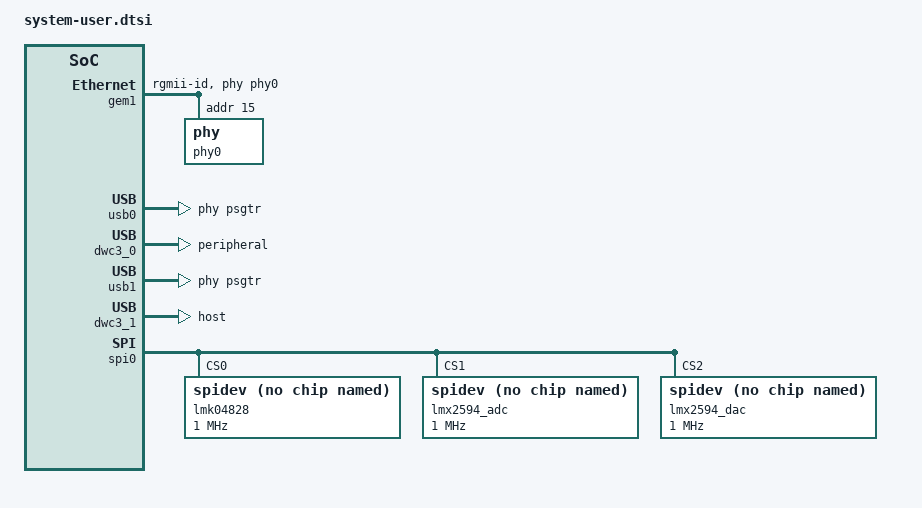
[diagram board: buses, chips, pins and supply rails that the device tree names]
/include/ "system-conf.dtsi"
#include <dt-bindings/phy/phy.h>

/*
 * RFSoC 4x2 board device tree for the UHD (MPM) image. Board facts from the
 * RFSoC 4x2 reference manual and RealDigital's RFSoC4x2-BSP: GEM1 with a TI
 * DP83867 PHY at address 15, SD0 without 1.8 V signalling, PS-GTR reference
 * clocks, LMK04828 / LMX2594 on PS SPI0 (SS0 / SS1 / SS2).
 * The PL nodes are not in the base tree: MPM applies the FPGA image and its
 * overlay (fpga/dts) at runtime.
 */

/ {
	chosen {
		stdout-path = "serial0:115200n8";
	};

	dp_clk: psgtr_dp_clock {
		compatible = "fixed-clock";
		#clock-cells = <0x00>;
		clock-frequency = <27000000>;
	};

	usb_clk: psgtr_usb_clock {
		compatible = "fixed-clock";
		#clock-cells = <0x00>;
		clock-frequency = <26000000>;
	};
};

&gem1 {
	status = "okay";
	phy-handle = <&phy0>;
	phy-mode = "rgmii-id";
	phy0: phy@f {
		reg = <0xf>;
		ti,rx-internal-delay = <0x8>;
		ti,tx-internal-delay = <0xa>;
		ti,fifo-depth = <0x1>;
		ti,dp83867-rxctrl-strap-quirk;
	};
};

&sdhci0 {
	no-1-8-v;
};

&psgtr {
	/* dp 0-1, usb0, usb1 */
	clocks = <&usb_clk>, <&dp_clk>;
	clock-names = "ref0", "ref1";
};

&zynqmp_dpsub {
	phys = <&psgtr 1 PHY_TYPE_DP 0 1>, <&psgtr 0 PHY_TYPE_DP 1 1>;
};

&usb0 {
	status = "okay";
	phys = <&psgtr 2 PHY_TYPE_USB3 0 1>;
};

&dwc3_0 {
	status = "okay";
	dr_mode = "peripheral";
	snps,usb3_lpm_capable;
	phy-names = "usb3-phy";
	maximum-speed = "super-speed";
};

&usb1 {
	status = "okay";
	phys = <&psgtr 3 PHY_TYPE_USB3 1 1>;
};

&dwc3_1 {
	status = "okay";
	dr_mode = "host";
	snps,usb3_lpm_capable;
	phy-names = "usb3-phy";
	maximum-speed = "super-speed";
};

/* Clock chips: spidev nodes with labels for MPM */
&spi0 {
	status = "okay";
	lmk04828: spidev@0 {
		compatible = "rohm,dh2228fv";
		reg = <0>;
		spi-max-frequency = <1000000>;
	};
	lmx2594_adc: spidev@1 {
		compatible = "rohm,dh2228fv";
		reg = <1>;
		spi-max-frequency = <1000000>;
	};
	lmx2594_dac: spidev@2 {
		compatible = "rohm,dh2228fv";
		reg = <2>;
		spi-max-frequency = <1000000>;
	};
};

/* LMK04828 control on PS MIO (names used by MPM) */
&gpio {
	gpio-line-names = "", "", "", "", "", "", "",
			  "LMK_RST",            /* MIO7 */
			  "LMK_CLK_IN_SEL0",    /* MIO8 */
			  "", "", "",
			  "LMK_CLK_IN_SEL1";    /* MIO12 */
};
